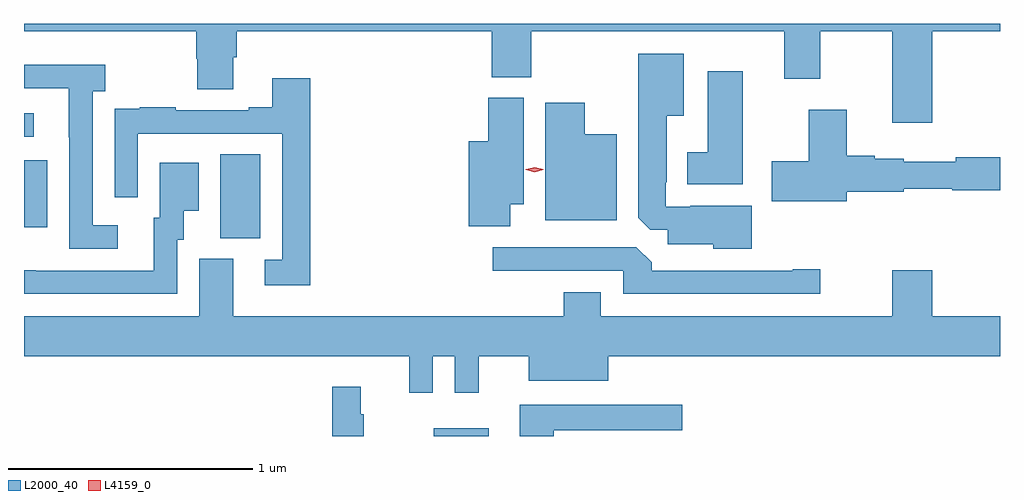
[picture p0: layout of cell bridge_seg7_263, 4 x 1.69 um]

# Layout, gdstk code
import gdstk
lib = gdstk.Library(unit=1e-6, precision=1e-09)
def R(c, l, rs):  # rectangles x0, y0, x1, y1
    for r in rs: c.add(gdstk.rectangle(r[:2], r[2:], *l))
def P(c, l, *ps):  # polygons
    for p in ps: c.add(gdstk.Polygon(p, *l))
L2000_40 = (2000, 40)
L4159_0 = (4159, 0)

bridge_seg7_263 = lib.new_cell('bridge_seg7_263')
R(bridge_seg7_263, L2000_40, [(151.14,1080.208,151.366,1080.241), (150.266,1081.021,150.43,1081.364), (149.461,1081.065,149.557,1081.339), (149.461,1081.437,149.5,1081.533)])
P(bridge_seg7_263, L2000_40, [(153.184,1081.868),(153.461,1081.868),(153.461,1081.9),(149.461,1081.9),(149.461,1081.868),(150.167,1081.868),(150.167,1081.755),(150.172,1081.755),(150.172,1081.63),(150.319,1081.63),(150.319,1081.762),(150.332,1081.762),(150.332,1081.868),(151.379,1081.868),(151.379,1081.681),(151.539,1081.681),(151.539,1081.868),(152.576,1081.868),(152.576,1081.674),(152.724,1081.674),(152.724,1081.868),(153.02,1081.868),(153.02,1081.494),(153.184,1081.494)],
  [(152.443,1081.153),(152.191,1081.153),(152.191,1081.149),(152.091,1081.149),(152.091,1081.249),(152.095,1081.249),(152.095,1081.523),(152.164,1081.523),(152.164,1081.777),(151.979,1081.777),(151.979,1081.105),(152.028,1081.056),(152.099,1081.056),(152.099,1080.995),(152.286,1080.995),(152.286,1080.977),(152.443,1080.977)],
  [(149.845,1081.074),(149.742,1081.074),(149.742,1081.622),(149.794,1081.622),(149.794,1081.732),(149.461,1081.732),(149.461,1081.635),(149.645,1081.635),(149.645,1081.435),(149.646,1081.435),(149.646,1080.978),(149.845,1080.978)],
  [(152.407,1081.705),(152.264,1081.705),(152.264,1081.372),(152.18,1081.372),(152.18,1081.241),(152.407,1081.241)],
  [(150.635,1081.675),(150.479,1081.675),(150.479,1081.558),(150.383,1081.558),(150.383,1081.545),(150.083,1081.545),(150.083,1081.558),(149.935,1081.558),(149.935,1081.551),(149.833,1081.551),(149.833,1081.442),(149.832,1081.442),(149.832,1081.188),(149.928,1081.188),(149.928,1081.449),(150.519,1081.449),(150.519,1080.933),(150.447,1080.933),(150.447,1080.828),(150.635,1080.828)],
  [(151.453,1081.16),(151.51,1081.16),(151.51,1081.596),(151.364,1081.596),(151.364,1081.417),(151.283,1081.417),(151.283,1081.069),(151.453,1081.069)],
  [(151.891,1081.447),(151.759,1081.447),(151.759,1081.576),(151.598,1081.576),(151.598,1081.094),(151.891,1081.094)],
  [(152.833,1081.211),(153.066,1081.211),(153.066,1081.224),(153.266,1081.224),(153.266,1081.216),(153.461,1081.216),(153.461,1081.352),(153.28,1081.352),(153.28,1081.333),(153.066,1081.333),(153.066,1081.345),(152.948,1081.345),(152.948,1081.358),(152.833,1081.358),(152.833,1081.546),(152.678,1081.546),(152.678,1081.335),(152.526,1081.335),(152.526,1081.172),(152.833,1081.172)],
  [(150.09,1081.014),(150.115,1081.014),(150.115,1081.133),(150.178,1081.133),(150.178,1081.33),(150.017,1081.33),(150.017,1081.104),(149.993,1081.104),(149.993,1080.888),(149.509,1080.888),(149.509,1080.889),(149.461,1080.889),(149.461,1080.792),(150.09,1080.792)],
  [(152.725,1080.893),(152.612,1080.893),(152.612,1080.888),(152.033,1080.888),(152.033,1080.922),(151.971,1080.984),(151.383,1080.984),(151.383,1080.888),(151.917,1080.888),(151.917,1080.792),(152.725,1080.792)],
  [(151.137,1080.536),(151.227,1080.536),(151.227,1080.387),(151.325,1080.387),(151.325,1080.536),(151.529,1080.536),(151.529,1080.437),(151.855,1080.437),(151.855,1080.536),(153.461,1080.536),(153.461,1080.7),(153.184,1080.7),(153.184,1080.889),(153.02,1080.889),(153.02,1080.7),(151.825,1080.7),(151.825,1080.799),(151.673,1080.799),(151.673,1080.7),(150.319,1080.7),(150.319,1080.936),(150.179,1080.936),(150.179,1080.7),(149.461,1080.7),(149.461,1080.536),(151.04,1080.536),(151.04,1080.387),(151.137,1080.387)],
  [(150.853,1080.299),(150.842,1080.299),(150.842,1080.412),(150.724,1080.412),(150.724,1080.208),(150.853,1080.208)],
  [(151.633,1080.233),(152.158,1080.233),(152.158,1080.337),(151.493,1080.337),(151.493,1080.208),(151.633,1080.208)])
P(bridge_seg7_263, L4159_0, [(151.554,1081.291),(151.517,1081.301),(151.517,1081.301),(151.517,1081.302),(151.554,1081.311),(151.59,1081.302),(151.59,1081.302),(151.59,1081.301)])

lib.write_gds('bridge_seg7_263.gds')
